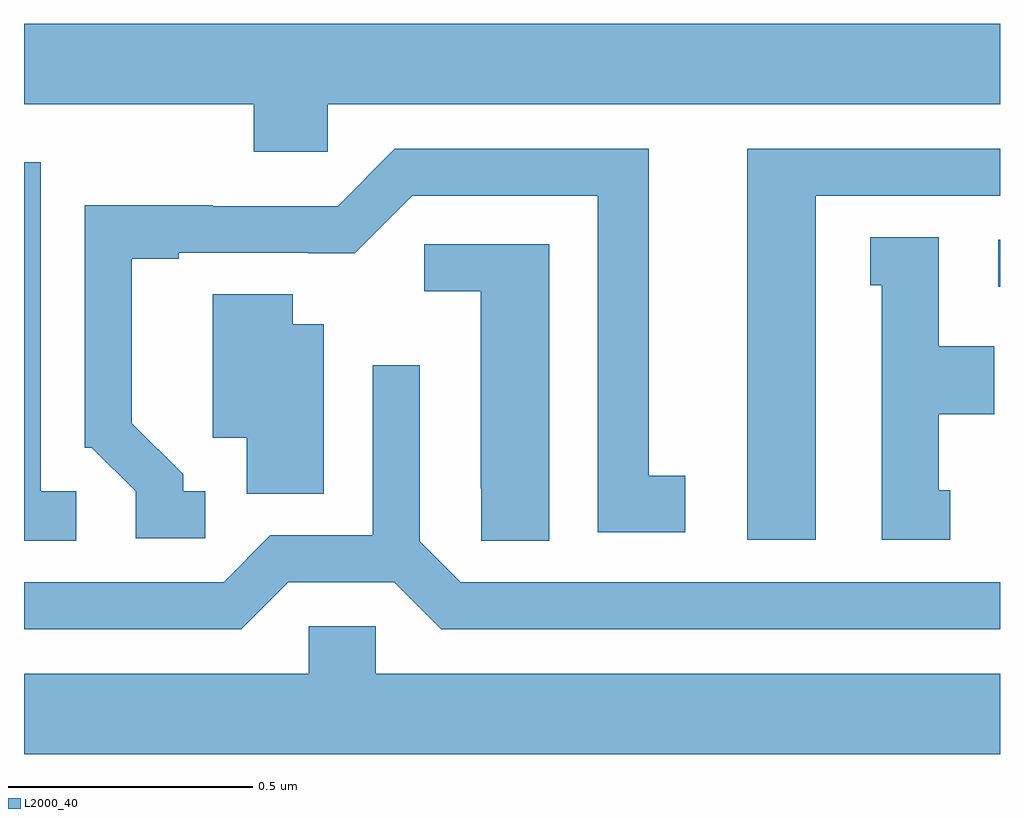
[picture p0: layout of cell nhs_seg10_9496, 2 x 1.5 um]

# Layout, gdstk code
import gdstk
lib = gdstk.Library(unit=1e-6, precision=1e-09)
def R(c, l, rs):  # rectangles x0, y0, x1, y1
    for r in rs: c.add(gdstk.rectangle(r[:2], r[2:], *l))
def P(c, l, *ps):  # polygons
    for p in ps: c.add(gdstk.Polygon(p, *l))
L2000_40 = (2000, 40)

nhs_seg10_9496 = lib.new_cell('nhs_seg10_9496')
R(nhs_seg10_9496, L2000_40, [(231.996,1299.942,232,1300.038)])
P(nhs_seg10_9496, L2000_40, [(230.622,1300.316),(232,1300.316),(232,1300.48),(230,1300.48),(230,1300.316),(230.471,1300.316),(230.471,1300.218),(230.622,1300.218)],
  [(231.622,1300.128),(232,1300.128),(232,1300.224),(231.482,1300.224),(231.482,1299.423),(231.622,1299.423)],
  [(230.371,1299.522),(230.326,1299.522),(230.326,1299.557),(230.221,1299.662),(230.221,1299.999),(230.317,1299.999),(230.317,1300.011),(230.582,1300.011),(230.582,1300.01),(230.678,1300.01),(230.796,1300.128),(231.176,1300.128),(231.176,1299.438),(231.355,1299.438),(231.355,1299.554),(231.28,1299.554),(231.28,1300.224),(230.76,1300.224),(230.643,1300.107),(230.387,1300.107),(230.387,1300.109),(230.124,1300.109),(230.124,1299.612),(230.139,1299.612),(230.229,1299.522),(230.229,1299.426),(230.371,1299.426)],
  [(230.107,1299.522),(230.034,1299.522),(230.034,1300.197),(230,1300.197),(230,1299.421),(230.107,1299.421)],
  [(231.898,1299.525),(231.874,1299.525),(231.874,1299.68),(231.988,1299.68),(231.988,1299.82),(231.874,1299.82),(231.874,1300.043),(231.734,1300.043),(231.734,1299.945),(231.758,1299.945),(231.758,1299.423),(231.898,1299.423)],
  [(231.076,1300.029),(230.82,1300.029),(230.82,1299.932),(230.936,1299.932),(230.936,1299.529),(230.937,1299.529),(230.937,1299.421),(231.076,1299.421)],
  [(230.614,1299.865),(230.551,1299.865),(230.551,1299.926),(230.387,1299.926),(230.387,1299.632),(230.456,1299.632),(230.456,1299.517),(230.614,1299.517)],
  [(230.541,1299.336),(230.759,1299.336),(230.855,1299.24),(232,1299.24),(232,1299.336),(230.895,1299.336),(230.811,1299.42),(230.811,1299.781),(230.715,1299.781),(230.715,1299.432),(230.505,1299.432),(230.409,1299.336),(230,1299.336),(230,1299.24),(230.445,1299.24)],
  [(232,1299.148),(230.721,1299.148),(230.721,1299.246),(230.583,1299.246),(230.583,1299.148),(230,1299.148),(230,1298.984),(232,1298.984)])

lib.write_gds('nhs_seg10_9496.gds')
